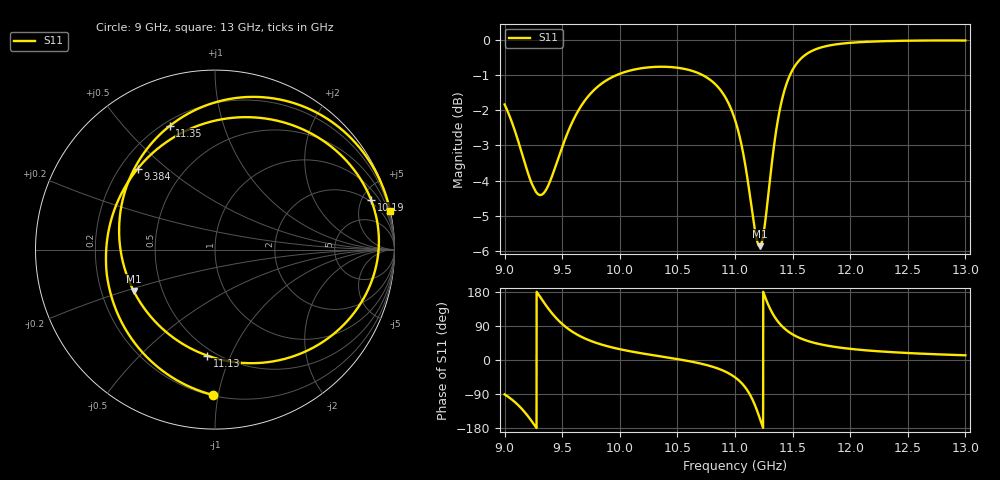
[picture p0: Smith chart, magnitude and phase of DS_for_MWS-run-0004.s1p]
! TOUCHSTONE file generated by CST DESIGN STUDIO
! Date and time: Tue Feb  4 17:41:37 2025
! Project name: C:\Work\MatlabApps\UnitCellOptimizationMatlab\CST\unitcell.cst
! Tree item: Tasks\Sweep1\SPara1\S-Parameters
! Header version: 2024
! Port assignment regex: !\s*Touchstone port\s*([0-9]+)\s*=\s*(CST MWS port|CST DES external port|CST DES block port)\s*(.+)\s* \(\"(.*)\"\)(\s*mode\s*([0-9]+))?.*
! Touchstone port assignment:
! Touchstone port 1 = CST DES external port 1 ("")
# GHz S MA R 50
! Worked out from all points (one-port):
!   4001 points, 9 GHz to 13 GHz, reference 50 ohm
!   lowest |S11| = -5.9 dB at 11.21 GHz (marker M1), VSWR 3.07, Z = 17.1 - j10.8 ohm
!   |S11| at or under -10 dB: nowhere
!   S11 on the Smith chart (normalised r, x): 9 GHz: 0.21, -0.97; 9.384 GHz: 0.27, +0.40; 10.19 GHz: 1.76, +5.87; 11.13 GHz: 0.45, -0.82; 11.35 GHz: 0.23, +0.67; 13 GHz: 0.03, +9.21
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9  0.81 -90.7
9.116  0.7201 -118.6
9.23  0.628 -159.3
9.304  0.6018 168.3
9.384  0.6234 133.8
9.5  0.7044 95.0
9.594  0.7683 73.5
9.722  0.8307 53.5
10  0.8959 28.5
10.186  0.9123 17.8
10.5  0.914 2.4
10.815  0.8701 -18.7
10.918  0.8284 -30.9
11  0.7703 -45.6
11.079  0.6789 -68.4
11.135  0.5919 -94.3
11.174  0.535 -119.8
11.214  0.5086 -152.8
11.245  0.5267 180.0
11.276  0.5757 154.9
11.352  0.7336 110.2
11.415  0.8319 87.2
11.5  0.9077 67.6
11.586  0.9463 55.1
11.691  0.9697 45.0
12  0.9919 29.5
12.5  0.9988 18.4
13  0.9994 12.4
